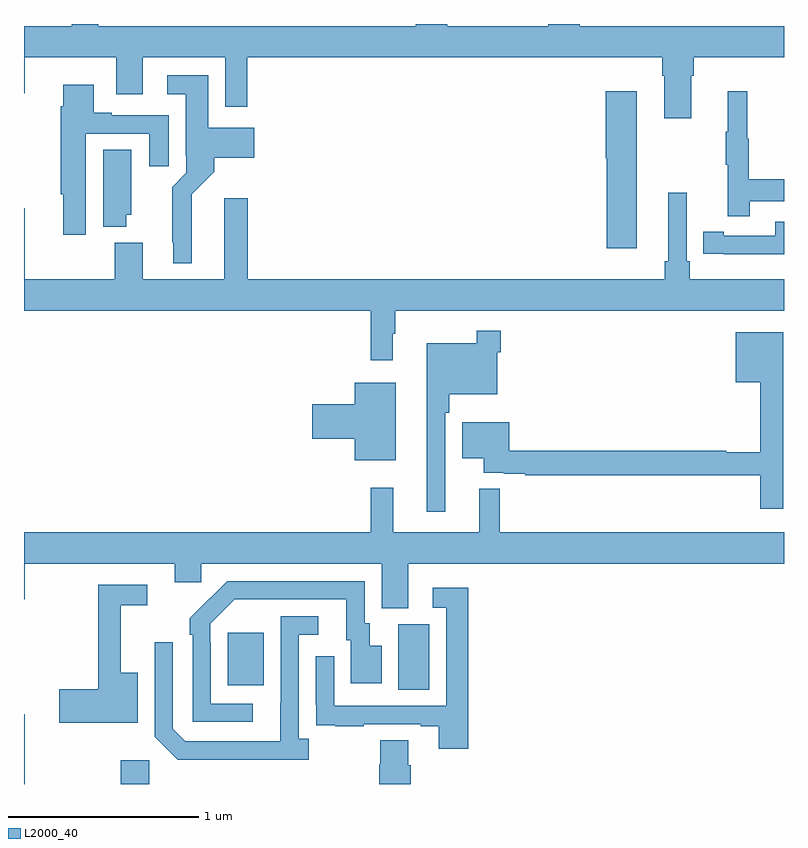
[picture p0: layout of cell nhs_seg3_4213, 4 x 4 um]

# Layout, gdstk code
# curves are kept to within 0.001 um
import gdstk
lib = gdstk.Library(unit=1e-6, precision=1e-09)
def R(c, l, rs):  # rectangles x0, y0, x1, y1
    for r in rs: c.add(gdstk.rectangle(r[:2], r[2:], *l))
def P(c, l, *ps):  # polygons
    for p in ps: c.add(gdstk.Polygon(p, *l))
L2000_40 = (2000, 40)

nhs_seg3_4213 = lib.new_cell('nhs_seg3_4213')
R(nhs_seg3_4213, L2000_40, [(333,722.4,333.004,722.767), (333.509,722.4,333.66,722.524), (334.97,722.896,335.134,723.24), (334.073,722.921,334.261,723.196)])
P(nhs_seg3_4213, L2000_40, [(333.39,726.4),(333.251,726.4),(333.251,726.388),(333,726.388),(333,726.036),(333.004,726.036),(333.004,726.224),(333.485,726.224),(333.485,726.03),(333.625,726.03),(333.625,726.224),(334.059,726.224),(334.059,725.964),(334.175,725.964),(334.175,726.224),(336.359,726.224),(336.359,726.128),(336.371,726.128),(336.371,725.904),(336.511,725.904),(336.511,726.128),(336.524,726.128),(336.524,726.224),(337,726.224),(337,726.388),(335.924,726.388),(335.924,726.4),(335.759,726.4),(335.759,726.388),(335.228,726.388),(335.228,726.4),(335.063,726.4),(335.063,726.388),(333.39,726.388)],
  [(333.883,725.504),(334.001,725.622),(334.001,725.696),(334.213,725.696),(334.213,725.854),(333.97,725.854),(333.97,726.13),(333.753,726.13),(333.753,726.029),(333.851,726.029),(333.851,725.71),(333.855,725.71),(333.855,725.616),(333.781,725.542),(333.781,725.251),(333.785,725.251),(333.785,725.141),(333.883,725.141)],
  [(333.325,725.823),(333.659,725.823),(333.659,725.652),(333.763,725.652),(333.763,725.919),(333.463,725.919),(333.463,725.932),(333.367,725.932),(333.367,726.079),(333.206,726.079),(333.206,725.966),(333.194,725.966),(333.194,725.504),(333.206,725.504),(333.206,725.292),(333.325,725.292)],
  [(336.226,726.046),(336.062,726.046),(336.062,725.694),(336.068,725.694),(336.068,725.22),(336.226,725.22)],
  [(336.821,725.466),(337,725.466),(337,725.582),(336.814,725.582),(336.814,725.796),(336.806,725.796),(336.806,726.046),(336.704,726.046),(336.704,725.833),(336.693,725.833),(336.693,725.659),(336.704,725.659),(336.704,725.388),(336.821,725.388)],
  [(333.538,725.397),(333.565,725.397),(333.565,725.738),(333.416,725.738),(333.416,725.333),(333.538,725.333)],
  [(334.942,724.769),(334.954,724.769),(334.954,724.892),(337,724.892),(337,725.056),(336.503,725.056),(336.503,725.152),(336.489,725.152),(336.489,725.512),(336.392,725.512),(336.392,725.152),(336.373,725.152),(336.373,725.056),(334.178,725.056),(334.178,725.482),(334.055,725.482),(334.055,725.056),(333.625,725.056),(333.625,725.248),(333.478,725.248),(333.478,725.056),(333.004,725.056),(333.004,725.431),(333,725.431),(333,724.892),(334.825,724.892),(334.825,724.629),(334.942,724.629)],
  [(337,725.358),(336.954,725.358),(336.954,725.286),(336.682,725.286),(336.682,725.306),(336.574,725.306),(336.574,725.19),(336.682,725.19),(336.682,725.189),(337,725.189)],
  [(335.217,724.355),(335.237,724.355),(335.237,724.451),(335.49,724.451),(335.49,724.673),(335.51,724.673),(335.51,724.786),(335.382,724.786),(335.382,724.72),(335.12,724.72),(335.12,723.834),(335.217,723.834)],
  [(336.997,724.777),(336.746,724.777),(336.746,724.514),(336.876,724.514),(336.876,724.147),(336.697,724.147),(336.697,724.154),(335.555,724.154),(335.555,724.303),(335.306,724.303),(335.306,724.115),(335.42,724.115),(335.42,724.038),(335.524,724.038),(335.524,724.032),(335.638,724.032),(335.638,724.026),(336.876,724.026),(336.876,723.849),(336.997,723.849)],
  [(334.957,724.513),(334.742,724.513),(334.742,724.4),(334.518,724.4),(334.518,724.217),(334.742,724.217),(334.742,724.103),(334.957,724.103)],
  [(335.023,723.56),(337,723.56),(337,723.724),(335.504,723.724),(335.504,723.953),(335.396,723.953),(335.396,723.724),(334.943,723.724),(334.943,723.958),(334.825,723.958),(334.825,723.724),(333,723.724),(333,723.372),(333.004,723.372),(333.004,723.56),(333.794,723.56),(333.794,723.462),(333.933,723.462),(333.933,723.56),(334.883,723.56),(334.883,723.325),(335.023,723.325)],
  [(334.204,722.823),(333.984,722.823),(333.984,723.143),(333.981,723.143),(333.981,723.243),(334.11,723.372),(334.697,723.372),(334.697,723.156),(334.721,723.156),(334.721,722.931),(334.882,722.931),(334.882,723.127),(334.819,723.127),(334.819,723.246),(334.794,723.246),(334.794,723.468),(334.07,723.468),(333.873,723.273),(333.873,723.185),(333.888,723.185),(333.888,722.727),(334.204,722.727)],
  [(333.598,722.986),(333.509,722.986),(333.509,723.342),(333.649,723.342),(333.649,723.45),(333.391,723.45),(333.391,722.9),(333.186,722.9),(333.186,722.722),(333.598,722.722)],
  [(335.339,723.433),(335.151,723.433),(335.151,723.327),(335.223,723.327),(335.223,722.811),(334.632,722.811),(334.632,723.073),(334.536,723.073),(334.536,722.818),(334.537,722.818),(334.537,722.709),(334.639,722.709),(334.639,722.703),(334.787,722.703),(334.787,722.715),(335.087,722.715),(335.087,722.703),(335.183,722.703),(335.183,722.586),(335.339,722.586)],
  [(334.498,722.638),(334.446,722.638),(334.446,723.186),(334.549,723.186),(334.549,723.282),(334.35,723.282),(334.349,722.625),(333.849,722.625),(333.783,722.691),(333.783,723.145),(333.687,723.145),(333.687,722.649),(333.808,722.528),(334.498,722.528)],
  [(335.036,722.498),(335.023,722.498),(335.023,722.63),(334.876,722.63),(334.876,722.505),(334.871,722.505),(334.871,722.4),(335.036,722.4)])

lib.write_gds('nhs_seg3_4213.gds')
